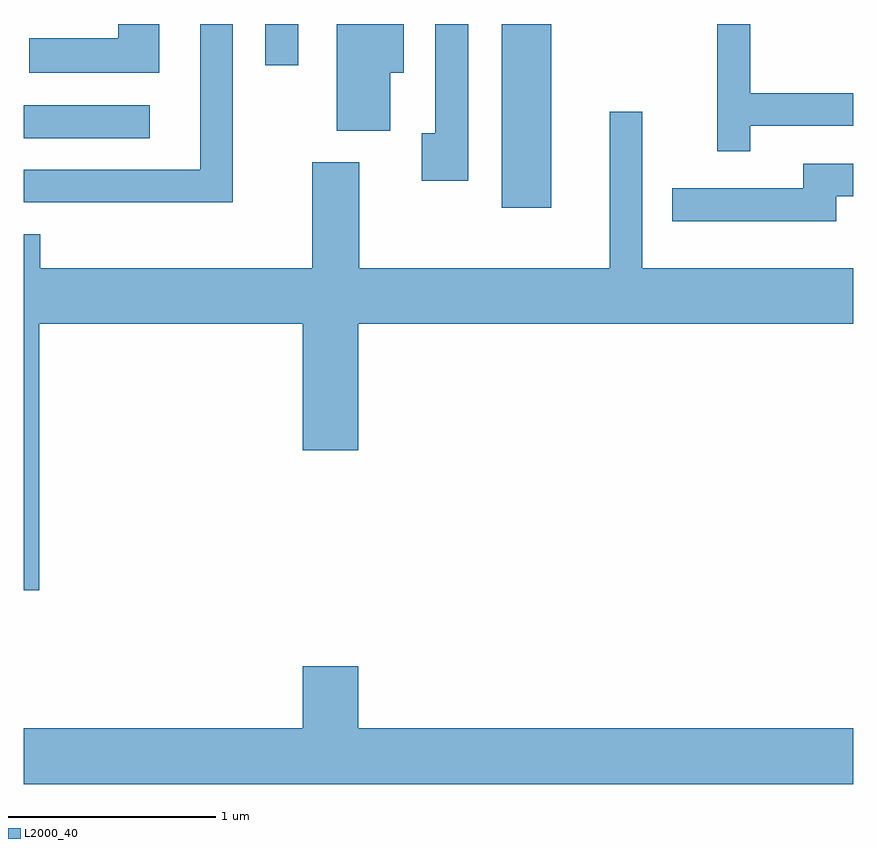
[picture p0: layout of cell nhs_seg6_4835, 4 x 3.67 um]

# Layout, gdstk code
import gdstk
lib = gdstk.Library(unit=1e-6, precision=1e-09)
def R(c, l, rs):  # rectangles x0, y0, x1, y1
    for r in rs: c.add(gdstk.rectangle(r[:2], r[2:], *l))
def P(c, l, *ps):  # polygons
    for p in ps: c.add(gdstk.Polygon(p, *l))
L2000_40 = (2000, 40)

nhs_seg6_4835 = lib.new_cell('nhs_seg6_4835')
R(nhs_seg6_4835, L2000_40, [(335.916,1537.276,336.154,1538.162), (333.611,1537.611,334.218,1537.769), (334.776,1537.963,334.934,1538.162)])
P(nhs_seg6_4835, L2000_40, [(334.619,1538.162),(334.461,1538.162),(334.461,1537.459),(333.611,1537.459),(333.611,1537.301),(334.619,1537.301)],
  [(334.264,1538.162),(334.066,1538.162),(334.066,1538.094),(333.638,1538.094),(333.638,1537.926),(334.264,1537.926)],
  [(337.114,1537.671),(337.611,1537.671),(337.611,1537.829),(337.114,1537.829),(337.114,1538.162),(336.956,1538.162),(336.956,1537.548),(337.114,1537.548)],
  [(335.754,1538.162),(335.596,1538.162),(335.596,1537.634),(335.531,1537.634),(335.531,1537.406),(335.754,1537.406)],
  [(335.379,1537.926),(335.444,1537.926),(335.444,1538.162),(335.121,1538.162),(335.121,1537.646),(335.379,1537.646)],
  [(333.684,1536.716),(334.956,1536.716),(334.956,1536.106),(335.224,1536.106),(335.224,1536.716),(337.611,1536.716),(337.611,1536.984),(336.594,1536.984),(336.594,1537.738),(336.436,1537.738),(336.436,1536.984),(335.229,1536.984),(335.229,1537.494),(335.001,1537.494),(335.001,1536.984),(333.689,1536.984),(333.689,1537.149),(333.611,1537.149),(333.611,1535.431),(333.684,1535.431)],
  [(337.529,1537.331),(337.611,1537.331),(337.611,1537.489),(337.371,1537.489),(337.371,1537.369),(336.738,1537.369),(336.738,1537.211),(337.529,1537.211)],
  [(337.611,1534.764),(335.224,1534.764),(335.224,1535.064),(334.956,1535.064),(334.956,1534.764),(333.611,1534.764),(333.611,1534.496),(337.611,1534.496)])

lib.write_gds('nhs_seg6_4835.gds')
